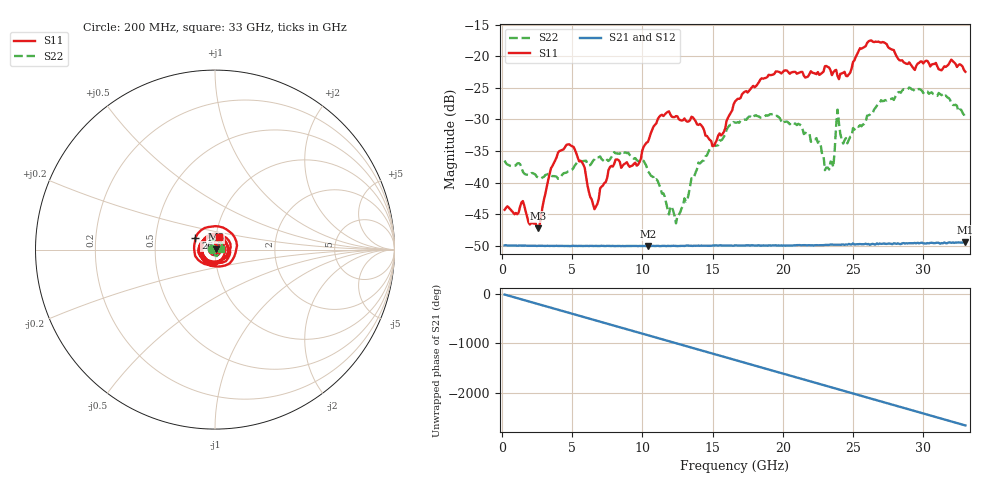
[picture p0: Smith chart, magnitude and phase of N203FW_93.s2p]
# GHZ S RI R 50
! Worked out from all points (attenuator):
!   329 points, 200 MHz to 33 GHz, reference 50 ohm
!   highest |S21| = -49.43 dB at 33 GHz (marker M1); lowest = -50.1 dB at 10.4 GHz (marker M2)
!   lowest |S11| = -47.2 dB at 2.6 GHz (marker M3), VSWR 1.01, Z = 50.4 + j0.0929 ohm
!   |S11| at or under -10 dB: start of sweep to end of sweep
!   |S22| runs from -46.5 to -24.9 dB; largest |S21 - S12| = 8.8e-05
!   S11 on the Smith chart (normalised r, x): 200 MHz: 1.01, +0.00; 26 GHz: 0.80, +0.11; 33 GHz: 1.03, +0.15
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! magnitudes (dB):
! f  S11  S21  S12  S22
! 200 MHz  -44.3  -50.0  -49.9  -36.5
! 1.5 GHz  -42.9  -50.0  -50.0  -38.3
! 2.6 GHz  -47.2  -50.0  -50.0  -39.2
! 4 GHz  -35.3  -50.0  -50.0  -39.4
! 5.7 GHz  -36.8  -50.1  -50.0  -36.6
! 6.6 GHz  -44.2  -50.1  -50.0  -36.3
! 8.1 GHz  -36.4  -50.1  -50.0  -35.4
! 9.6 GHz  -37.3  -50.1  -50.1  -36.4
! 10.4 GHz  -33.6  -50.1  -50.1  -38.2
! 11.2 GHz  -29.6  -50.1  -50.0  -40.3
! 12.4 GHz  -29.5  -50.0  -50.0  -46.5
! 15 GHz  -34.2  -50.0  -50.0  -34.0
! 16.6 GHz  -27.2  -50.0  -50.0  -30.5
! 22.1 GHz  -22.6  -49.9  -49.9  -33.3
! 23.3 GHz  -21.8  -49.9  -49.9  -37.9
! 23.6 GHz  -22.5  -49.9  -49.8  -37.6
! 23.9 GHz  -23.1  -49.8  -49.9  -28.4
! 24.3 GHz  -22.6  -49.8  -49.8  -33.8
! 26 GHz  -17.9  -49.8  -49.7  -29.4
! 27.6 GHz  -18.7  -49.7  -49.7  -26.8
! 31.1 GHz  -22.1  -49.6  -49.4  -25.8
! 33 GHz  -22.4  -49.4  -49.5  -29.7
